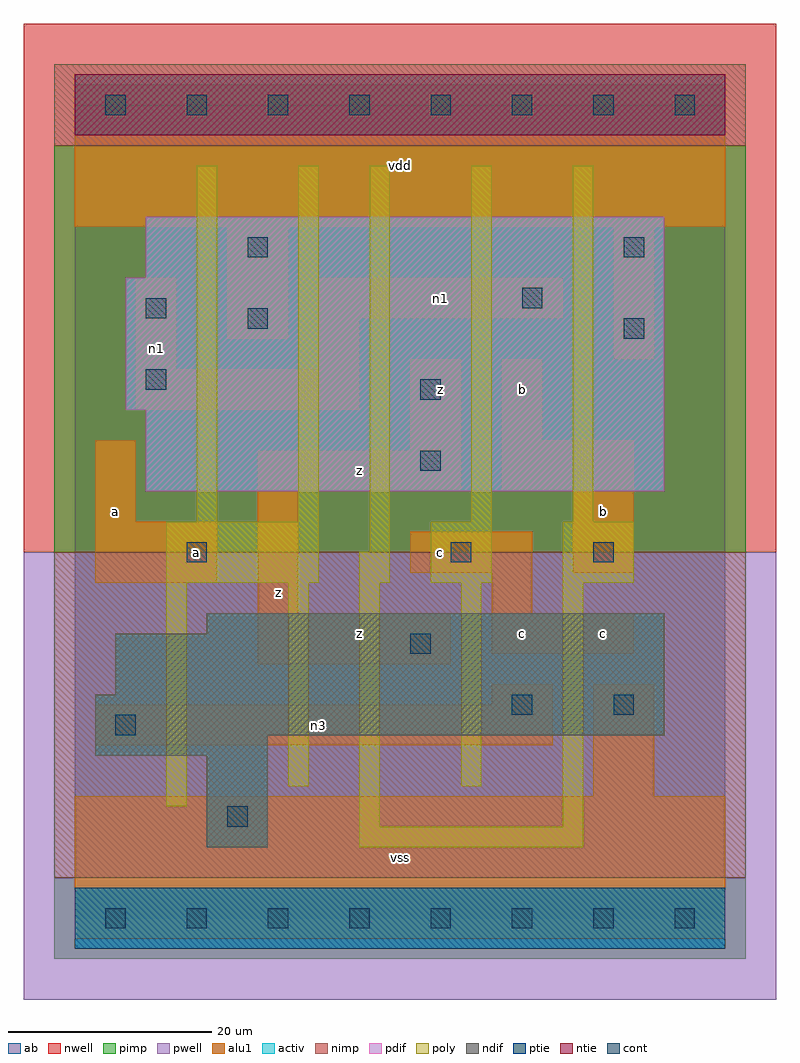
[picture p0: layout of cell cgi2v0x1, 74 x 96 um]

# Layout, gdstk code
import gdstk
lib = gdstk.Library(unit=1e-6, precision=1e-09)
def R(c, l, rs):  # rectangles x0, y0, x1, y1
    for r in rs: c.add(gdstk.rectangle(r[:2], r[2:], *l))
def A(c, l, x, y, w, h, nx, ny, dx, dy):  # array of equal rectangles
    R(c, l, [(x+i*dx, y+j*dy, x+i*dx+w, y+j*dy+h) for i in range(nx) for j in range(ny)])
ndif = (3, 0)
pdif = (4, 0)
ntie = (5, 0)
ptie = (6, 0)
cont = (25, 0)
pwell = (41, 0)
nwell = (42, 0)
activ = (43, 0)
pimp = (44, 0)
nimp = (45, 0)
poly = (46, 0)
alu1 = (49, 0)
ab = (63, 0)

cgi2v0x1 = lib.new_cell('cgi2v0x1')
R(cgi2v0x1, ndif, [(13,7,19,16), (2,16,19,18), (2,18,58,22), (4,22,58,28), (13,28,58,30)])
R(cgi2v0x1, pdif, [(7,42,58,50), (5,50,58,63), (7,63,58,69)])
R(cgi2v0x1, ntie, [(0,77,64,83)])
R(cgi2v0x1, ptie, [(0,-3,64,3)])
A(cgi2v0x1, cont, 3, -1, 2, 2, 8, 2, 8, 80)
R(cgi2v0x1, cont, [(15,9,17,11), (4,18,6,20), (43,20,45,22), (53,20,55,22), (33,26,35,28), (11,35,13,37), (37,35,39,37), (51,35,53,37), (34,44,36,46), (34,51,36,53), (7,52,9,54), (54,57,56,59), (17,58,19,60), (7,59,9,61), (44,60,46,62), (17,65,19,67), (54,65,56,67)])
R(cgi2v0x1, pwell, [(-5,-8,69,36)])
R(cgi2v0x1, nwell, [(-5,36,69,88)])
R(cgi2v0x1, activ, [(0,-3,64,3), (13,7,19,16), (2,16,19,18), (2,18,58,22), (4,22,58,28), (13,28,58,30), (7,42,58,50), (5,50,58,63), (7,63,58,69), (0,77,64,83)])
R(cgi2v0x1, pimp, [(-2,-4,66,4), (-2,36,66,76)])
R(cgi2v0x1, nimp, [(-2,4,66,36), (-2,76,66,84)])
R(cgi2v0x1, poly, [(28,7,50,9), (28,9,30,33), (48,9,50,33), (9,11,11,33), (21,13,23,33), (38,13,40,33), (9,33,24,39), (28,33,31,36), (35,33,41,39), (48,33,55,39), (29,36,31,74), (12,39,14,74), (22,39,24,74), (39,39,41,74), (49,39,51,74)])
R(cgi2v0x1, alu1, [(0,-2,64,12), (51,12,57,23), (2,17,47,21), (41,21,47,23), (18,25,37,30), (41,26,55,30), (18,30,22,42), (41,30,45,34), (2,33,14,39), (33,34,45,38), (49,34,55,42), (2,39,6,47), (18,42,38,46), (42,42,55,47), (33,46,38,55), (42,47,46,55), (6,50,28,54), (6,54,10,63), (24,54,28,59), (53,55,57,68), (15,57,21,68), (24,59,48,63), (0,68,64,82)])
R(cgi2v0x1, ab, [(0,0,64,80)])
cgi2v0x1.add(gdstk.Label('n1', (8,56), layer=49, texttype=0))
cgi2v0x1.add(gdstk.Label('n3', (24,19), layer=49, texttype=0))
cgi2v0x1.add(gdstk.Label('n1', (36,61), layer=49, texttype=0))
cgi2v0x1.add(gdstk.Label('a', (12,36), layer=49, texttype=0))
cgi2v0x1.add(gdstk.Label('a', (4,40), layer=49, texttype=0))
cgi2v0x1.add(gdstk.Label('z', (28,28), layer=49, texttype=0))
cgi2v0x1.add(gdstk.Label('z', (20,32), layer=49, texttype=0))
cgi2v0x1.add(gdstk.Label('z', (28,44), layer=49, texttype=0))
cgi2v0x1.add(gdstk.Label('vss', (32,6), layer=49, texttype=0))
cgi2v0x1.add(gdstk.Label('c', (36,36), layer=49, texttype=0))
cgi2v0x1.add(gdstk.Label('c', (44,28), layer=49, texttype=0))
cgi2v0x1.add(gdstk.Label('z', (36,52), layer=49, texttype=0))
cgi2v0x1.add(gdstk.Label('b', (44,52), layer=49, texttype=0))
cgi2v0x1.add(gdstk.Label('vdd', (32,74), layer=49, texttype=0))
cgi2v0x1.add(gdstk.Label('c', (52,28), layer=49, texttype=0))
cgi2v0x1.add(gdstk.Label('b', (52,40), layer=49, texttype=0))

lib.write_gds('cgi2v0x1.gds')
